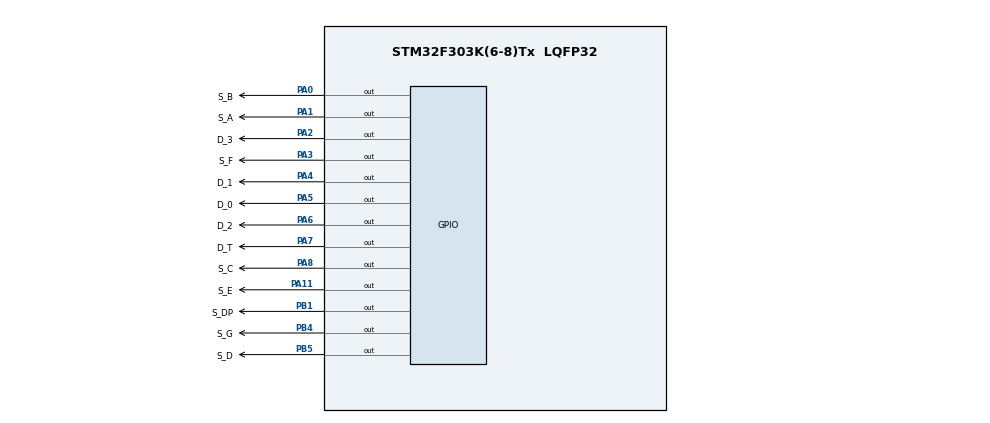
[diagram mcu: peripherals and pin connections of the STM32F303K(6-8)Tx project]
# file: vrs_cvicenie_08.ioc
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Mcu.Family=STM32F3
Mcu.Name=STM32F303K(6-8)Tx
Mcu.Package=LQFP32
NVIC.PriorityGroup=NVIC_PRIORITYGROUP_4
NVIC.TIM6_DAC1_IRQn=true\:0\:0\:false\:false\:true\:true\:true
NVIC.TIM7_DAC2_IRQn=true\:0\:0\:false\:false\:true\:true\:true
PA0.GPIO_Label=S_B
PA0.GPIO_PuPd=GPIO_NOPULL
PA0.Signal=GPIO_Output
PA1.GPIO_Label=S_A
PA1.GPIO_PuPd=GPIO_NOPULL
PA1.Signal=GPIO_Output
PA11.GPIO_Label=S_E
PA11.Signal=GPIO_Output
PA2.GPIO_Label=D_3
PA2.GPIO_PuPd=GPIO_NOPULL
PA2.Signal=GPIO_Output
PA3.GPIO_Label=S_F
PA3.Signal=GPIO_Output
PA4.GPIO_Label=D_1
PA4.Signal=GPIO_Output
PA5.GPIO_Label=D_0
PA5.Signal=GPIO_Output
PA6.GPIO_Label=D_2
PA6.Signal=GPIO_Output
PA7.GPIO_Label=D_T
PA7.Signal=GPIO_Output
PA8.GPIO_Label=S_C
PA8.Signal=GPIO_Output
PB1.GPIO_Label=S_DP
PB1.Signal=GPIO_Output
PB4.GPIO_Label=S_G
PB4.Signal=GPIO_Output
PB5.GPIO_Label=S_D
PB5.Signal=GPIO_Output
ProjectManager.HeapSize=0x200
ProjectManager.StackSize=0x400
ProjectManager.TargetToolchain=STM32CubeIDE
RCC.AHBFreq_Value=8000000
RCC.APB1Freq_Value=8000000
RCC.APB2Freq_Value=8000000
RCC.CortexFreq_Value=8000000
RCC.HSE_VALUE=8000000
RCC.HSI_VALUE=8000000
RCC.SYSCLKFreq_VALUE=8000000
TIM6.Period=19
TIM6.Prescaler=7999
TIM7.Period=499
TIM7.Prescaler=7999
VP_TIM6_VS_ClockSourceINT.Mode=Enable_Timer
VP_TIM7_VS_ClockSourceINT.Mode=Enable_Timer
board=custom

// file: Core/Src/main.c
/* USER CODE BEGIN Header */
/**
 ******************************************************************************
 * @file           : main.c
 * @brief          : Main program body
 ******************************************************************************
 * @attention
 *
 * <h2><center>&copy; Copyright (c) 2021 STMicroelectronics.
 * All rights reserved.</center></h2>
 *
 * This software component is licensed by ST under BSD 3-Clause license,
 * the "License"; You may not use this file except in compliance with the
 * License. You may obtain a copy of the License at:
 *                        opensource.org/licenses/BSD-3-Clause
 *
 ******************************************************************************
 */
/* USER CODE END Header */
#include "main.h"
#include "tim.h"
#include "gpio.h"

/* USER CODE BEGIN Includes */
#include "fonts.h"
#include "display.h"
/* USER CODE END Includes */

/* USER CODE BEGIN PV */
extern DisplayDigitData_ DisplayDigit_0;
extern DisplayDigitData_ DisplayDigit_1;
extern DisplayDigitData_ DisplayDigit_2;
extern DisplayDigitData_ DisplayDigit_3;
extern bool nextStringSequence;
/* USER CODE END PV */

void SystemClock_Config(void);

int main(void) {
	/* USER CODE BEGIN 1 */
	DisplayDigit_0.index = 0;
	DisplayDigit_0.chr = 0;
	DisplayDigit_1.index = 1;
	DisplayDigit_1.chr = 0;
	DisplayDigit_2.index = 2;
	DisplayDigit_2.chr = 0;
	DisplayDigit_3.index = 3;
	DisplayDigit_3.chr = 0;
	nextStringSequence = false;
	Direction_ direction = Direction_DownUp;
	/* USER CODE END 1 */

	/* MCU Configuration--------------------------------------------------------*/

	/* Reset of all peripherals, Initializes the Flash interface and the Systick. */

	LL_APB2_GRP1_EnableClock(LL_APB2_GRP1_PERIPH_SYSCFG);
	LL_APB1_GRP1_EnableClock(LL_APB1_GRP1_PERIPH_PWR);

	NVIC_SetPriorityGrouping(NVIC_PRIORITYGROUP_4);

	/* System interrupt init*/
	/* SysTick_IRQn interrupt configuration */
	NVIC_SetPriority(SysTick_IRQn,
			NVIC_EncodePriority(NVIC_GetPriorityGrouping(), 15, 0));

	/* Configure the system clock */
	SystemClock_Config();

	/* Initialize all configured peripherals */
	MX_GPIO_Init();
	MX_TIM6_Init();
	MX_TIM7_Init();
	/* USER CODE BEGIN 2 */
	uint8_t index = 0;
	uint8_t string[] = "ONDREJ_DURMIS_98324";
	uint8_t lenString = 19;
	/* USER CODE END 2 */

	/* Infinite loop */
	while (1) {

		/* USER CODE BEGIN 3 */

		if (nextStringSequence) {
			nextStringSequence = false;
			displayString(index, string, lenString);
			if (index + STR_DISP_LEN < lenString
					&& direction == Direction_DownUp) {
				index++;
			} else if (index + STR_DISP_LEN >= lenString
					&& direction == Direction_DownUp) {
				direction = Direction_UpDown;
			}

			if (index > 0 && direction == Direction_UpDown) {
				index--;
			} else if (index == 0 && direction == Direction_UpDown) {
				direction = Direction_DownUp;
			}
		}

	}
	/* USER CODE END 3 */
}

void SystemClock_Config(void) {
	LL_FLASH_SetLatency(LL_FLASH_LATENCY_0);
	while (LL_FLASH_GetLatency() != LL_FLASH_LATENCY_0) {
	}
	LL_RCC_HSI_Enable();

	/* Wait till HSI is ready */
	while (LL_RCC_HSI_IsReady() != 1) {

	}
	LL_RCC_HSI_SetCalibTrimming(16);
	LL_RCC_SetAHBPrescaler(LL_RCC_SYSCLK_DIV_1);
	LL_RCC_SetAPB1Prescaler(LL_RCC_APB1_DIV_1);
	LL_RCC_SetAPB2Prescaler(LL_RCC_APB2_DIV_1);
	LL_RCC_SetSysClkSource(LL_RCC_SYS_CLKSOURCE_HSI);

	/* Wait till System clock is ready */
	while (LL_RCC_GetSysClkSource() != LL_RCC_SYS_CLKSOURCE_STATUS_HSI) {

	}
	LL_Init1msTick(8000000);
	LL_SetSystemCoreClock(8000000);
}

/* USER CODE BEGIN 4 */
uint8_t displayString(uint8_t index, uint8_t *str, uint8_t length) {
	uint8_t result = 0;
	if (index + STR_DISP_LEN <= length) {
		uint8_t dispStr[STR_DISP_LEN] = { 0 };
		memcpy(dispStr, str + index, STR_DISP_LEN);
		result = index + STR_DISP_LEN;
		DisplayDigit_0.chr = dispStr[0];
		DisplayDigit_1.chr = dispStr[1];
		DisplayDigit_2.chr = dispStr[2];
		DisplayDigit_3.chr = dispStr[3];

	}
	return result;
}
/* USER CODE END 4 */

void Error_Handler(void) {
	__disable_irq();
	while (1) {
	}
}

/************************ (C) COPYRIGHT STMicroelectronics *****END OF FILE****/
